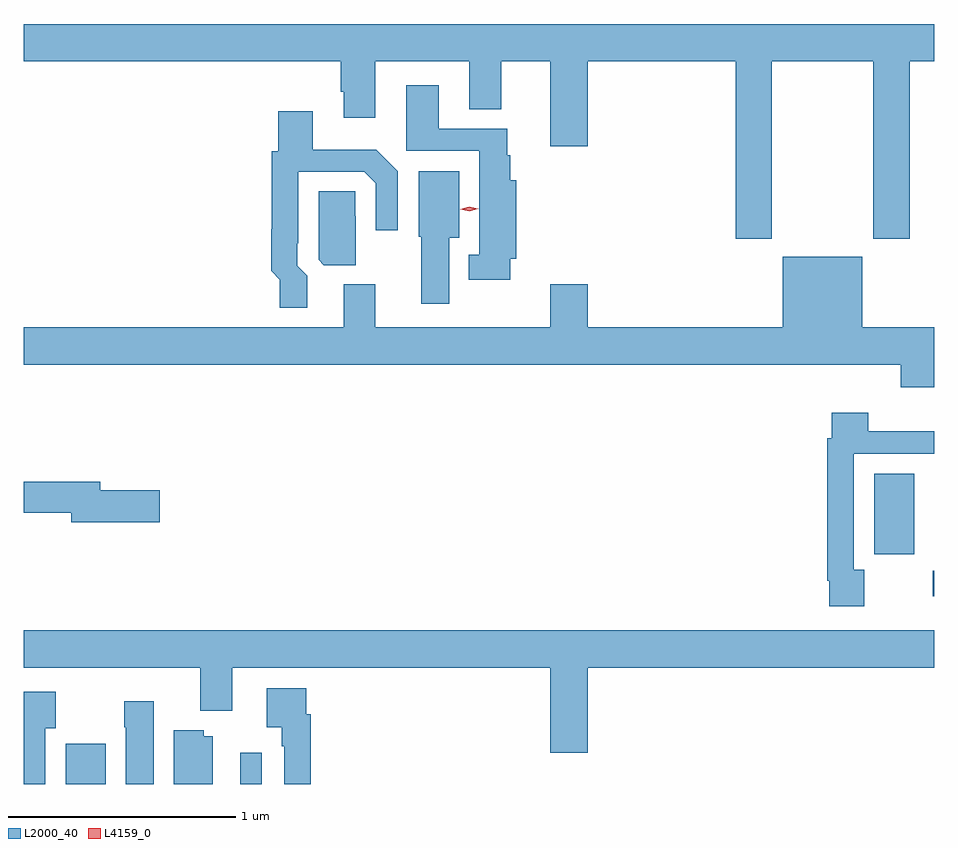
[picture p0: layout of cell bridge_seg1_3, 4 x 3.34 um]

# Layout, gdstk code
import gdstk
lib = gdstk.Library(unit=1e-6, precision=1e-09)
def R(c, l, rs):  # rectangles x0, y0, x1, y1
    for r in rs: c.add(gdstk.rectangle(r[:2], r[2:], *l))
def P(c, l, *ps):  # polygons
    for p in ps: c.add(gdstk.Polygon(p, *l))
L2000_40 = (2000, 40)
L4159_0 = (4159, 0)

bridge_seg1_3 = lib.new_cell('bridge_seg1_3')
R(bridge_seg1_3, L2000_40, [(727.08,551.221,727.176,551.359), (730.123,552.045,730.13,552.157)])
P(bridge_seg1_3, L2000_40, [(729.417,554.396),(729.862,554.396),(729.862,553.617),(730.022,553.617),(730.022,554.396),(730.13,554.396),(730.13,554.56),(726.13,554.56),(726.13,554.396),(727.523,554.396),(727.523,554.263),(727.535,554.263),(727.535,554.148),(727.675,554.148),(727.675,554.396),(728.087,554.396),(728.087,554.185),(728.227,554.185),(728.227,554.396),(728.444,554.396),(728.444,554.022),(728.608,554.022),(728.608,554.396),(729.257,554.396),(729.257,553.617),(729.417,553.617)],
  [(728.267,553.529),(728.293,553.529),(728.293,553.873),(728.267,553.873),(728.267,553.983),(728.254,553.983),(728.254,554.1),(727.954,554.1),(727.954,554.29),(727.811,554.29),(727.811,554.004),(728.132,554.004),(728.132,553.546),(728.084,553.546),(728.084,553.436),(728.267,553.436)],
  [(727.375,553.454),(727.332,553.497),(727.332,553.597),(727.335,553.597),(727.335,553.911),(727.626,553.911),(727.677,553.86),(727.677,553.653),(727.773,553.653),(727.773,553.914),(727.679,554.008),(727.399,554.008),(727.399,554.176),(727.247,554.176),(727.247,554.001),(727.219,554.001),(727.219,553.658),(727.217,553.658),(727.217,553.476),(727.255,553.437),(727.255,553.314),(727.375,553.314)],
  [(727.999,553.622),(728.044,553.622),(728.044,553.912),(727.865,553.912),(727.865,553.626),(727.877,553.626),(727.877,553.332),(727.999,553.332)],
  [(727.588,553.715),(727.587,553.715),(727.587,553.826),(727.425,553.826),(727.425,553.524),(727.449,553.501),(727.588,553.501)],
  [(730.13,553.228),(729.814,553.228),(729.814,553.537),(729.464,553.537),(729.464,553.228),(728.608,553.228),(728.608,553.417),(728.444,553.417),(728.444,553.228),(727.675,553.228),(727.675,553.416),(727.535,553.416),(727.535,553.228),(726.13,553.228),(726.13,553.064),(729.983,553.064),(729.983,552.965),(730.13,552.965)],
  [(729.823,552.163),(729.777,552.163),(729.777,552.672),(730.13,552.672),(730.13,552.77),(729.841,552.77),(729.841,552.853),(729.68,552.853),(729.68,552.74),(729.661,552.74),(729.661,552.115),(729.669,552.115),(729.669,552.003),(729.823,552.003)],
  [(730.042,552.583),(729.866,552.583),(729.866,552.334),(729.867,552.334),(729.867,552.231),(730.042,552.231)],
  [(726.727,552.512),(726.466,552.512),(726.466,552.548),(726.13,552.548),(726.13,552.412),(726.338,552.412),(726.338,552.37),(726.727,552.37)],
  [(728.608,551.732),(730.13,551.732),(730.13,551.896),(726.13,551.896),(726.13,551.732),(726.905,551.732),(726.905,551.543),(727.045,551.543),(727.045,551.732),(728.444,551.732),(728.444,551.358),(728.608,551.358)],
  [(727.391,551.528),(727.371,551.528),(727.371,551.641),(727.197,551.641),(727.197,551.471),(727.263,551.471),(727.263,551.387),(727.275,551.387),(727.275,551.221),(727.391,551.221)],
  [(726.225,551.466),(726.271,551.466),(726.271,551.626),(726.13,551.626),(726.13,551.221),(726.225,551.221)],
  [(726.7,551.584),(726.571,551.584),(726.571,551.471),(726.578,551.471),(726.578,551.221),(726.7,551.221)],
  [(726.961,551.431),(726.921,551.431),(726.921,551.458),(726.788,551.458),(726.788,551.221),(726.961,551.221)],
  [(726.49,551.397),(726.315,551.397),(726.315,551.294),(726.314,551.294),(726.314,551.221),(726.49,551.221)])
P(bridge_seg1_3, L4159_0, [(728.088,553.738),(728.048,553.747),(728.048,553.747),(728.048,553.747),(728.087,553.758),(728.127,553.748),(728.127,553.748),(728.127,553.748)])

lib.write_gds('bridge_seg1_3.gds')
